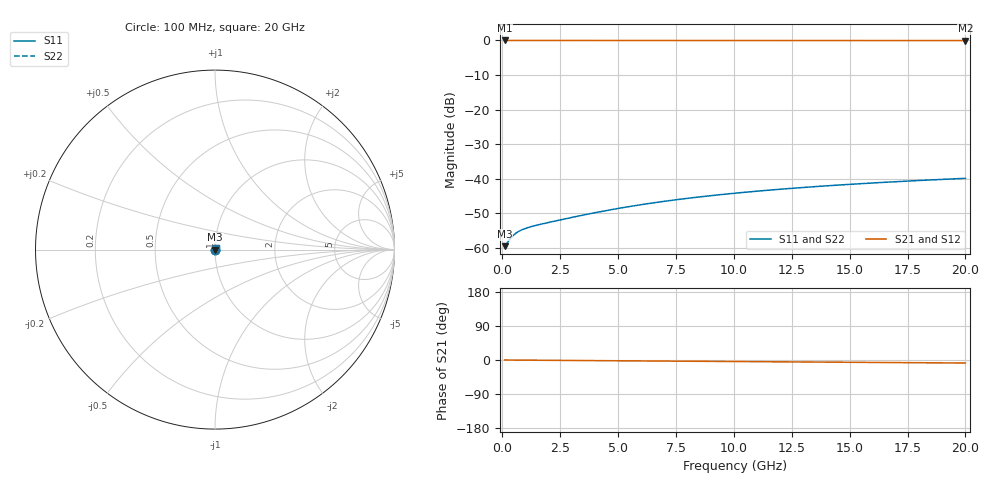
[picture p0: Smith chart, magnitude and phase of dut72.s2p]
! Touchstone file exported from HFSS 2026.1.0
!  File:  C:/ffzhzh/LocalFiles/Ansys_Project_Files/temp_train_TMRDL_72_1782881221_43084.aedt
!  Generated:  12:48:10 PM Jul  1, 2026
!  Design:  TMRDL
!  Project:  temp_train_TMRDL_72_1782881221_43084
! Variables:
!  h_bsmrdl = 2um
!  h_ox = 20um
!  h_rdl = 5um
!  h_sub = 80um
!  h_tmrdl = 2.46um
!  h_tsv = 80um
!  h_via = 3um
!  l_bsmrdl = 300um
!  l_sub = 525.83um
!  l_tmrdl = 125.83um
!  m_sub = 200um
!  pitch = 33.11um
!  r_tsv = 6um
!  s_tmrdl = 10um
!  w_bsmrdl = 18um
!  w_sub = 500um
!  w_tmrdl = 29.06um
!  x_tsv_center1 = 140.36um
!  x_tsv_center2 = 458.36um
!  x_tsv_center3 = 613.25um
!  x_tsv_center4 = 931.25um
!  x_tsv_center5 = 1086.14um
!  x_tsv_center6 = 1404.14um
# GHz S MA R 50.000000
! Terminal data exported
! Port[1] = TM_RDL1_1_T1
! Port[2] = TM_RDL1_1_T2
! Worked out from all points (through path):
!   200 points, 100 MHz to 20 GHz, reference 50 ohm
!   highest |S21| = -0.01 dB at 100 MHz (marker M1); lowest = 0.0 dB at 20 GHz (marker M2)
!   group delay of S21, straight-line fit = 1.11 ps
!   lowest |S11| = -59.6 dB at 100 MHz (marker M3), VSWR 1.00, Z = 50.1 + j0.0196 ohm
!   |S11| at or under -10 dB: start of sweep to end of sweep
!   |S22| runs from -59.6 to -39.9 dB; largest |S21 - S12| = 1.3e-15
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0.1  0.001051 10.7  0.999 -0.0  0.999 -0.0  0.001051 10.7
! Gamma 0 0 0 0
! Port Impedance 50 0 50 0
0.3  0.001288 23.4  0.9988 -0.1  0.9988 -0.1  0.001288 23.4
0.4  0.001417 25.9  0.9987 -0.2  0.9987 -0.2  0.001417 25.9
0.5  0.001532 27.3  0.9986 -0.2  0.9986 -0.2  0.001532 27.3
0.6  0.001631 28.0  0.9986 -0.3  0.9986 -0.3  0.001631 28.0
0.7  0.001713 28.5  0.9985 -0.3  0.9985 -0.3  0.001713 28.5
0.9  0.001845 29.4  0.9984 -0.4  0.9984 -0.4  0.001845 29.4
1.2  0.001994 31.1  0.9983 -0.5  0.9983 -0.5  0.001994 31.1
1.6  0.002158 33.8  0.9982 -0.7  0.9982 -0.7  0.002158 33.8
2.5  0.00252 40.3  0.9981 -1.0  0.9981 -1.0  0.00252 40.3
3.5  0.002967 46.1  0.998 -1.4  0.998 -1.4  0.002967 46.1
4.3  0.003349 49.4  0.9979 -1.8  0.9979 -1.8  0.003349 49.4
5.1  0.003744 51.8  0.9978 -2.1  0.9978 -2.1  0.003744 51.8
5.9  0.004143 53.5  0.9977 -2.4  0.9977 -2.4  0.004143 53.5
6.8  0.004591 54.8  0.9975 -2.8  0.9975 -2.8  0.004591 54.8
8.4  0.005371 56.1  0.9973 -3.4  0.9973 -3.4  0.005371 56.0
10.1  0.006167 56.5  0.997 -4.1  0.997 -4.1  0.006167 56.5
11.7  0.006881 56.6  0.9967 -4.7  0.9967 -4.7  0.006882 56.5
13.4  0.007604 56.3  0.9964 -5.4  0.9964 -5.4  0.007604 56.3
15  0.008251 55.9  0.9961 -6.0  0.9961 -6.0  0.008252 55.9
16.7  0.008906 55.3  0.9958 -6.7  0.9958 -6.7  0.008906 55.3
20  0.01008 54.1  0.9952 -8.0  0.9952 -8.0  0.01009 54.1
